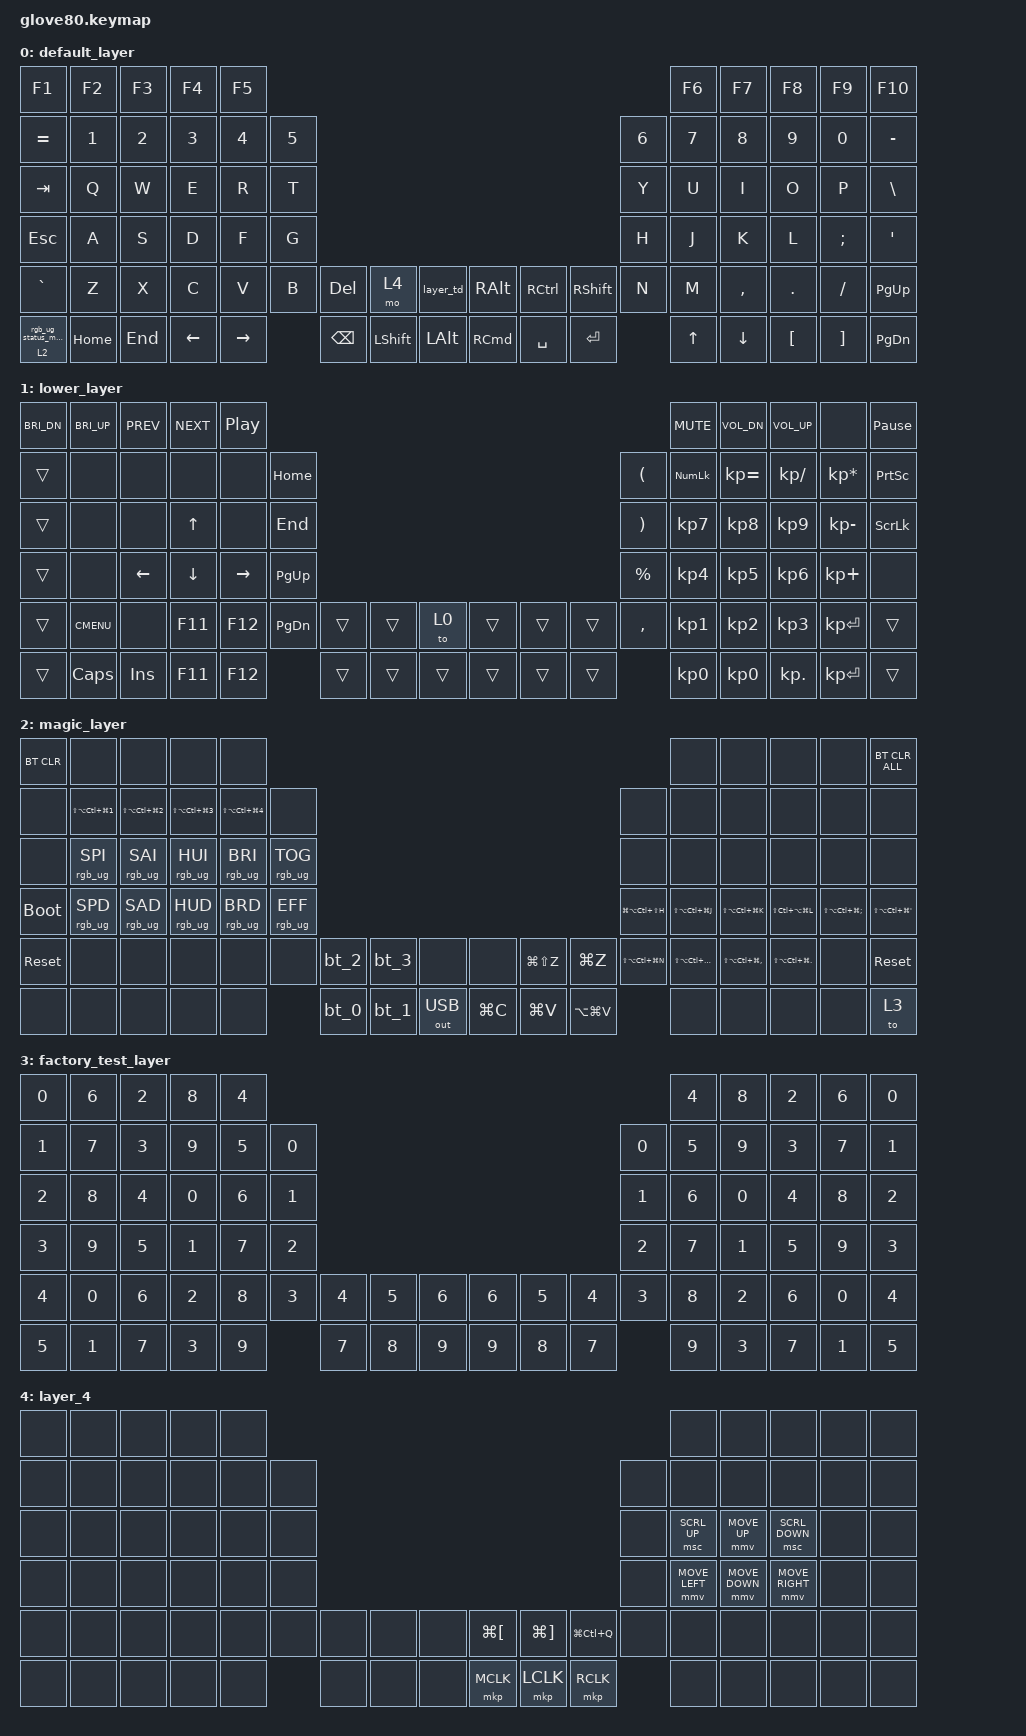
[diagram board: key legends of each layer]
/*
 * Copyright (c) 2020 The ZMK Contributors
 *
 * SPDX-License-Identifier: MIT
 */

#include <input/processors.dtsi>
#include <behaviors.dtsi>
#include <dt-bindings/zmk/bt.h>
#include <dt-bindings/zmk/keys.h>
#include <dt-bindings/zmk/outputs.h>
#include <dt-bindings/zmk/pointing.h>
#include <dt-bindings/zmk/rgb.h>

#define HYPER LC(LS(LG(LALT)))

// layers

#define DEFAULT 0
#define LOWER 1
#define MAGIC 2
#define FACTORY_TEST 3
#define CUSTOM 4

&mmv_input_listener {
    custom_speed {
        layers = <CUSTOM>;
        input-processors = <&zip_xy_scaler 5 2>; // 2.5× speed
    };
};

/ {
    behaviors {
        // For the "layer" key, it'd nice to be able to use it as either a shift or a toggle.
        // Configure it as a tap dance, so the first tap (or hold) is a &mo and the second tap is a &to

        layer_td: tap_dance_0 {
            compatible = "zmk,behavior-tap-dance";
            label = "LAYER_TAP_DANCE";
            #binding-cells = <0>;
            tapping-term-ms = <200>;
            bindings = <&mo 1>, <&to 1>;
        };

        magic: magic_hold_tap {
            compatible = "zmk,behavior-hold-tap";
            label = "MAGIC_HOLD_TAP";
            #binding-cells = <2>;
            flavor = "tap-preferred";
            tapping-term-ms = <200>;
            bindings = <&mo>, <&rgb_ug_status_macro>;
        };
    };

    macros {
        rgb_ug_status_macro: rgb_ug_status_macro_0 {
            label = "RGB_UG_STATUS";
            compatible = "zmk,behavior-macro";
            #binding-cells = <0>;
            bindings = <&rgb_ug RGB_STATUS>;
        };

        bt_0: bt_profile_macro_0 {
            label = "BT_0";
            compatible = "zmk,behavior-macro";
            #binding-cells = <0>;
            bindings = <&out OUT_BLE &bt BT_SEL 0>;
        };

        bt_1: bt_profile_macro_1 {
            label = "BT_1";
            compatible = "zmk,behavior-macro";
            #binding-cells = <0>;
            bindings = <&out OUT_BLE &bt BT_SEL 1>;
        };

        bt_2: bt_profile_macro_2 {
            label = "BT_2";
            compatible = "zmk,behavior-macro";
            #binding-cells = <0>;
            bindings = <&out OUT_BLE &bt BT_SEL 2>;
        };

        bt_3: bt_profile_macro_3 {
            label = "BT_3";
            compatible = "zmk,behavior-macro";
            #binding-cells = <0>;
            bindings = <&out OUT_BLE &bt BT_SEL 3>;
        };
    };

    keymap {
        compatible = "zmk,keymap";

        default_layer {
            // ---------------------------------------------------------------------------------------------------------------------------------
            // |  F1   |  F2 |  F3 |  F4  |  F5  |                                                               |  F6   |  F7   |  F8  |   F9  |  F10 |
            // |  =    |  1  |  2  |  3   |  4   |  5   |                                                 |  6   |   7   |   8   |  9   |   0   |   -  |
            // |  TAB  |  Q  |  W  |  E   |  R   |  T   |                                                 |  Y   |   U   |   I   |  O   |   P   |   \  |
            // |  ESC  |  A  |  S  |  D   |  F   |  G   |                                                 |  H   |   J   |   K   |  L   |   ;   |   '  |
            // |   `   |  Z  |  X  |  C   |  V   |  B   | LSHFT | LCTRL | LOWER | | LGUI  | RCTRL | RSHFT |  N   |   M   |   ,   |  .   |   /   | PGUP |
            // | MAGIC | HOME| END | LEFT | RIGHT|      | BSPC  | DEL   | LALT  | | RALT  | RET   | SPACE |      |  UP   | DOWN  |  [   |   ]   | PGDN |

            bindings = <
&kp F1      &kp F2    &kp F3   &kp F4    &kp F5                                                                                                     &kp F6  &kp F7     &kp F8    &kp F9    &kp F10
&kp EQUAL   &kp N1    &kp N2   &kp N3    &kp N4     &kp N5                                                                                  &kp N6  &kp N7  &kp N8     &kp N9    &kp N0    &kp MINUS
&kp TAB     &kp Q     &kp W    &kp E     &kp R      &kp T                                                                                   &kp Y   &kp U   &kp I      &kp O     &kp P     &kp BSLH
&kp ESC     &kp A     &kp S    &kp D     &kp F      &kp G                                                                                   &kp H   &kp J   &kp K      &kp L     &kp SEMI  &kp SQT
&kp GRAVE   &kp Z     &kp X    &kp C     &kp V      &kp B   &kp DELETE  &mo 4           &layer_td  &kp RIGHT_ALT      &kp RCTRL  &kp RSHFT  &kp N   &kp M   &kp COMMA  &kp DOT   &kp FSLH  &kp PG_UP
&magic 2 0  &kp HOME  &kp END  &kp LEFT  &kp RIGHT          &kp BSPC    &kp LEFT_SHIFT  &kp LALT   &kp RIGHT_COMMAND  &kp SPACE  &kp ENTER          &kp UP  &kp DOWN   &kp LBKT  &kp RBKT  &kp PG_DN
            >;
        };

        lower_layer {
            bindings = <
&kp C_BRI_DN  &kp C_BRI_UP  &kp C_PREV  &kp C_NEXT  &kp C_PP                                                                         &kp C_MUTE  &kp C_VOL_DN  &kp C_VOL_UP   &none            &kp PAUSE_BREAK
&trans        &none         &none       &none       &none      &kp HOME                                                   &kp LPAR   &kp KP_NUM  &kp KP_EQUAL  &kp KP_DIVIDE  &kp KP_MULTIPLY  &kp PSCRN
&trans        &none         &none       &kp UP      &none      &kp END                                                    &kp RPAR   &kp KP_N7   &kp KP_N8     &kp KP_N9      &kp KP_MINUS     &kp SLCK
&trans        &none         &kp LEFT    &kp DOWN    &kp RIGHT  &kp PG_UP                                                  &kp PRCNT  &kp KP_N4   &kp KP_N5     &kp KP_N6      &kp KP_PLUS      &none
&trans        &kp K_CMENU   &none       &kp F11     &kp F12    &kp PG_DN  &trans  &trans  &to 0   &trans  &trans  &trans  &kp COMMA  &kp KP_N1   &kp KP_N2     &kp KP_N3      &kp KP_ENTER     &trans
&trans        &kp CAPS      &kp INS     &kp F11     &kp F12               &trans  &trans  &trans  &trans  &trans  &trans             &kp KP_N0   &kp KP_N0     &kp KP_DOT     &kp KP_ENTER     &trans
            >;
        };

        magic_layer {
            bindings = <
&bt BT_CLR   &none                         &none                         &none                         &none                                                                                                                                      &none                  &none                      &none                       &none                          &bt BT_CLR_ALL
&none        &kp LS(LA(LC(LG(NUMBER_1))))  &kp LS(LA(LC(LG(NUMBER_2))))  &kp LS(LA(LC(LG(NUMBER_3))))  &kp LS(LA(LC(LG(NUMBER_4))))  &none                                                                                 &none                  &none                  &none                      &none                       &none                          &none
&none        &rgb_ug RGB_SPI               &rgb_ug RGB_SAI               &rgb_ug RGB_HUI               &rgb_ug RGB_BRI               &rgb_ug RGB_TOG                                                                       &none                  &none                  &none                      &none                       &none                          &none
&bootloader  &rgb_ug RGB_SPD               &rgb_ug RGB_SAD               &rgb_ug RGB_HUD               &rgb_ug RGB_BRD               &rgb_ug RGB_EFF                                                                       &kp LG(LA(LC(LS(H))))  &kp LS(LA(LC(LG(J))))  &kp LS(LA(LC(LG(K))))      &kp LS(LC(LA(LG(L))))       &kp LS(LA(LC(LG(SEMICOLON))))  &kp LS(LA(LC(LG(SQT))))
&sys_reset   &none                         &none                         &none                         &none                         &none            &bt_2  &bt_3  &none         &none      &kp LG(LS(Z))  &kp LG(Z)      &kp LS(LA(LC(LG(N))))  &kp LS(LA(LC(LG(M))))  &kp LS(LA(LC(LG(COMMA))))  &kp LS(LA(LC(LG(PERIOD))))  &none                          &sys_reset
&none        &none                         &none                         &none                         &none                                          &bt_0  &bt_1  &out OUT_USB  &kp LG(C)  &kp LG(V)      &kp LA(LG(V))                         &none                  &none                      &none                       &none                          &to 3
            >;
        };

        factory_test_layer {
            bindings = <
&kp N0  &kp N6  &kp N2  &kp N8  &kp N4                                                                  &kp N4  &kp N8  &kp N2  &kp N6  &kp N0
&kp N1  &kp N7  &kp N3  &kp N9  &kp N5  &kp N0                                                  &kp N0  &kp N5  &kp N9  &kp N3  &kp N7  &kp N1
&kp N2  &kp N8  &kp N4  &kp N0  &kp N6  &kp N1                                                  &kp N1  &kp N6  &kp N0  &kp N4  &kp N8  &kp N2
&kp N3  &kp N9  &kp N5  &kp N1  &kp N7  &kp N2                                                  &kp N2  &kp N7  &kp N1  &kp N5  &kp N9  &kp N3
&kp N4  &kp N0  &kp N6  &kp N2  &kp N8  &kp N3  &kp N4  &kp N5  &kp N6  &kp N6  &kp N5  &kp N4  &kp N3  &kp N8  &kp N2  &kp N6  &kp N0  &kp N4
&kp N5  &kp N1  &kp N7  &kp N3  &kp N9          &kp N7  &kp N8  &kp N9  &kp N9  &kp N8  &kp N7          &kp N9  &kp N3  &kp N7  &kp N1  &kp N5
            >;
        };

        layer_4 {
            bindings = <
&none  &none  &none  &none  &none                                                                                                 &none           &none           &none            &none  &none
&none  &none  &none  &none  &none  &none                                                                                   &none  &none           &none           &none            &none  &none
&none  &none  &none  &none  &none  &none                                                                                   &none  &msc SCRL_UP    &mmv MOVE_UP    &msc SCRL_DOWN   &none  &none
&none  &none  &none  &none  &none  &none                                                                                   &none  &mmv MOVE_LEFT  &mmv MOVE_DOWN  &mmv MOVE_RIGHT  &none  &none
&none  &none  &none  &none  &none  &none  &none  &none  &none  &kp LG(LEFT_BRACKET)  &kp LG(RIGHT_BRACKET)  &kp LG(LC(Q))  &none  &none           &none           &none            &none  &none
&none  &none  &none  &none  &none         &none  &none  &none  &mkp MCLK             &mkp LCLK              &mkp RCLK             &none           &none           &none            &none  &none
            >;
        };
    };
};
